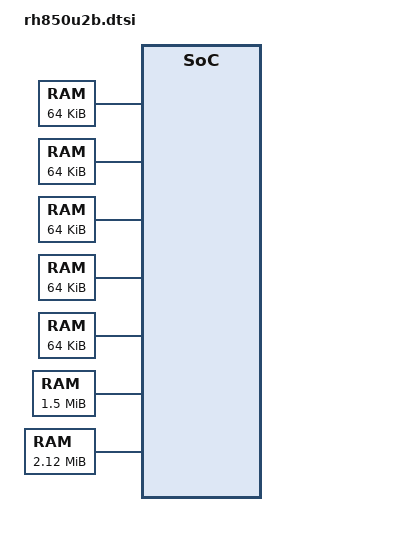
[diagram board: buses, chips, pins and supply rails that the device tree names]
/*
 * SPDX-FileCopyrightText: Copyright (c) 2026 Linumiz
 *
 * SPDX-License-Identifier: Apache-2.0
 */

#include <renesas/g4mh.dtsi>

/ {
	soc {
		rlin30: serial@ffc7c000 {
			compatible = "renesas,rh850-rlin3-uart";
			reg = <0xffc7c000 0x40>;
			interrupts = <620 15>, <621 15>, <622 15>, <623 15>;
			interrupt-names = "lin", "tx", "rx", "err";
			status = "disabled";
		};
	};
};

/* PCLK = CLKC_HSB */
&ostm0 {
	interrupts = <360 1>;
	clock-frequency = <DT_FREQ_M(80)>;
};

/* RAM of the U2B24, the largest U2B */

/* Local RAM CPU0, U2B HW UM Table 4.1 p615 */
&lram0 {
	reg = <0xfdc00000 DT_SIZE_K(64)>;
};

/ {
	/* Local RAM CPU1, U2B HW UM Table 4.1 p615 */
	lram1: memory@fda00000 {
		compatible = "zephyr,memory-region", "mmio-sram";
		reg = <0xfda00000 DT_SIZE_K(64)>;
		zephyr,memory-region = "LRAM1";
	};

	/* Local RAM CPU2, U2B HW UM Table 4.1 p615 */
	lram2: memory@fd800000 {
		compatible = "zephyr,memory-region", "mmio-sram";
		reg = <0xfd800000 DT_SIZE_K(64)>;
		zephyr,memory-region = "LRAM2";
	};

	/* Local RAM CPU3, U2B HW UM Table 4.1 p615 */
	lram3: memory@fd600000 {
		compatible = "zephyr,memory-region", "mmio-sram";
		reg = <0xfd600000 DT_SIZE_K(64)>;
		zephyr,memory-region = "LRAM3";
	};

	/* Local RAM CPU4, U2B HW UM Table 4.1 p615 */
	lram4: memory@fd400000 {
		compatible = "zephyr,memory-region", "mmio-sram";
		reg = <0xfd400000 DT_SIZE_K(64)>;
		zephyr,memory-region = "LRAM4";
	};

	/* Local RAM CPU5 (performance config), U2B HW UM Table 4.1 p615 */
	lram5: memory@fd200000 {
		compatible = "zephyr,memory-region", "mmio-sram";
		reg = <0xfd200000 DT_SIZE_K(64)>;
		zephyr,memory-region = "LRAM5";
	};

	/* Cluster RAM clusters 0-2, the last 128 KiB retention RAM, U2B HW UM Table 4.1 p615 */
	cram0: memory@fe000000 {
		compatible = "zephyr,memory-region", "mmio-sram";
		reg = <0xfe000000 DT_SIZE_K(1536)>;
		zephyr,memory-region = "CRAM0";
	};

	/* Extended cluster RAM area, U2B HW UM Table 4.1 p615 */
	ecram0: memory@fe800000 {
		compatible = "zephyr,memory-region", "mmio-sram";
		reg = <0xfe800000 0x220000>;
		zephyr,memory-region = "ECRAM0";
	};
};
